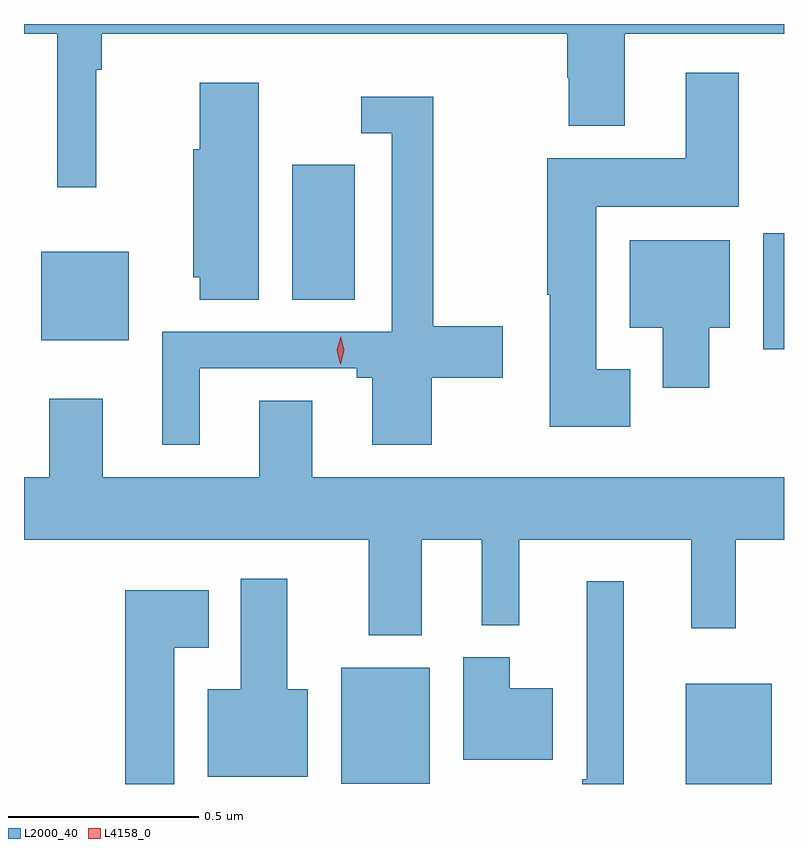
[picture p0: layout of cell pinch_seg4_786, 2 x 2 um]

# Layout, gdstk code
import gdstk
lib = gdstk.Library(unit=1e-6, precision=1e-09)
def R(c, l, rs):  # rectangles x0, y0, x1, y1
    for r in rs: c.add(gdstk.rectangle(r[:2], r[2:], *l))
def P(c, l, *ps):  # polygons
    for p in ps: c.add(gdstk.Polygon(p, *l))
L2000_40 = (2000, 40)
L4158_0 = (4158, 0)

pinch_seg4_786 = lib.new_cell('pinch_seg4_786')
R(pinch_seg4_786, L2000_40, [(795.755,821.485,795.982,821.749), (794.849,821.486,795.082,821.791), (795.959,822.629,796.014,822.934), (794.06,822.653,794.29,822.886), (794.72,822.76,794.884,823.114)])
P(pinch_seg4_786, L2000_40, [(794.204,823.364),(794.219,823.364),(794.219,823.46),(795.443,823.46),(795.443,823.344),(795.448,823.344),(795.448,823.217),(795.595,823.217),(795.595,823.46),(796.014,823.46),(796.014,823.485),(794.014,823.485),(794.014,823.46),(794.102,823.46),(794.102,823.056),(794.204,823.056)],
  [(795.61,822.577),(795.52,822.577),(795.52,823.004),(795.895,823.004),(795.895,823.357),(795.755,823.357),(795.755,823.132),(795.391,823.132),(795.391,822.772),(795.398,822.772),(795.398,822.425),(795.61,822.425)],
  [(794.632,823.33),(794.477,823.33),(794.477,823.155),(794.459,823.155),(794.459,822.819),(794.477,822.819),(794.477,822.76),(794.632,822.76)],
  [(794.476,822.579),(794.889,822.579),(794.889,822.554),(794.93,822.554),(794.93,822.378),(795.087,822.378),(795.087,822.554),(795.274,822.554),(795.274,822.689),(795.091,822.689),(795.091,823.294),(794.901,823.294),(794.901,823.197),(794.982,823.197),(794.982,822.675),(794.378,822.675),(794.378,822.378),(794.476,822.378)],
  [(795.817,822.686),(795.871,822.686),(795.871,822.916),(795.608,822.916),(795.608,822.686),(795.695,822.686),(795.695,822.528),(795.817,822.528)],
  [(795.061,822.128),(795.218,822.128),(795.218,821.903),(795.317,821.903),(795.317,822.128),(795.77,822.128),(795.77,821.895),(795.887,821.895),(795.887,822.128),(796.014,822.128),(796.014,822.292),(794.773,822.292),(794.773,822.494),(794.633,822.494),(794.633,822.292),(794.221,822.292),(794.221,822.499),(794.081,822.499),(794.081,822.292),(794.014,822.292),(794.014,822.128),(794.921,822.128),(794.921,821.876),(795.061,821.876)],
  [(794.761,821.734),(794.707,821.734),(794.707,822.025),(794.585,822.025),(794.585,821.734),(794.498,821.734),(794.498,821.504),(794.761,821.504)],
  [(795.592,822.019),(795.495,822.019),(795.495,821.497),(795.483,821.497),(795.483,821.485),(795.592,821.485)],
  [(794.41,821.843),(794.5,821.843),(794.5,821.995),(794.281,821.995),(794.281,821.485),(794.41,821.485)],
  [(795.406,821.737),(795.292,821.737),(795.292,821.818),(795.17,821.818),(795.17,821.549),(795.406,821.549)])
P(pinch_seg4_786, L4158_0, [(794.846,822.59),(794.837,822.626),(794.848,822.662),(794.848,822.662),(794.848,822.662),(794.857,822.626),(794.847,822.59),(794.847,822.59)])

lib.write_gds('pinch_seg4_786.gds')
